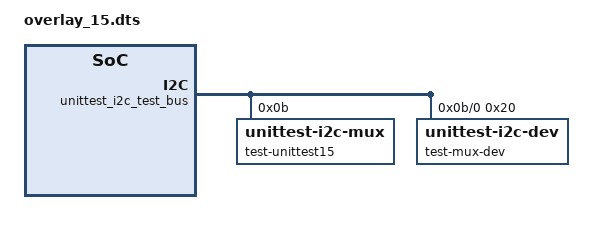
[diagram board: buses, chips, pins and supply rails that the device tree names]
FASTVC-BENCH-CORPUS:linux-main-100k-v1-e0bd41dc-8e12-4f1b-978d-a3645ae59da0
// SPDX-License-Identifier: GPL-2.0
/dts-v1/;
/plugin/;

/* overlay_15 - mux overlay */

&unittest_i2c_test_bus {
	#address-cells = <1>;
	#size-cells = <0>;
	test-unittest15 {
		reg = <11>;
		compatible = "unittest-i2c-mux";
/* bench 27576.3.0 61cb1ce07cb3 */
/* bench 27576.3.1 ccd057a00e44 */
/* bench 27576.3.2 788c0c280d96 */
/* bench 27576.3.3 4a77f228c573 */
/* bench 27576.3.4 c8bffca2e341 */
/* bench 27576.3.5 6281500a9ab4 */
/* bench 27576.3.6 c48d2eceb93e */
/* bench 27576.3.7 4506321161e2 */
/* bench 27576.3.8 ca4e5ec7573b */

		#address-cells = <1>;
		#size-cells = <0>;

		i2c@0 {
			#address-cells = <1>;
			#size-cells = <0>;
			reg = <0>;

			test-mux-dev@20 {
				reg = <0x20>;
				compatible = "unittest-i2c-dev";
				status = "okay";
			};
		};
	};
};
